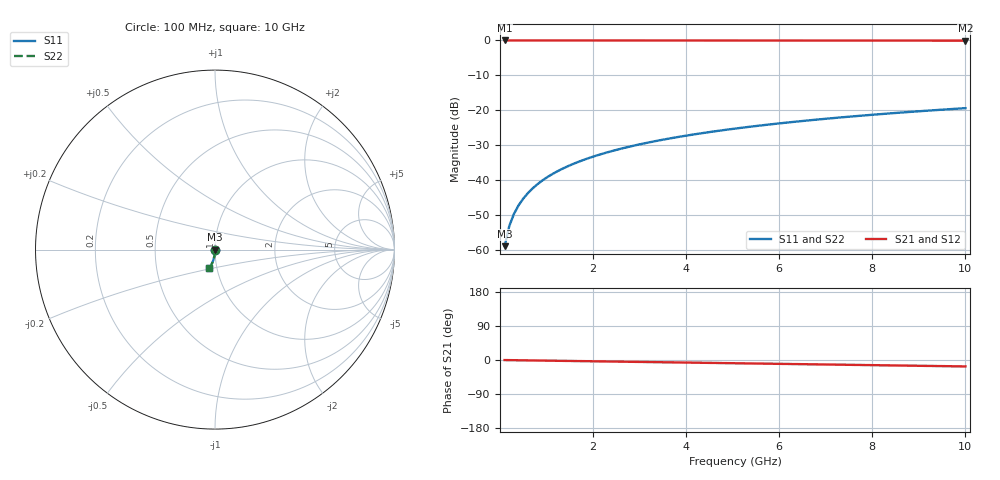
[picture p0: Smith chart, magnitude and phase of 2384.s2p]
# Hz S RI R 50.00
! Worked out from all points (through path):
!   100 points, 100 MHz to 10 GHz, reference 50 ohm
!   highest |S21| = 0.00 dB at 100 MHz (marker M1); lowest = -0.1 dB at 10 GHz (marker M2)
!   group delay of S21, straight-line fit = 4.72 ps
!   lowest |S11| = -59.0 dB at 100 MHz (marker M3), VSWR 1.00, Z = 50 - j0.108 ohm
!   |S11| at or under -10 dB: start of sweep to end of sweep
!   |S22| runs from -59.0 to -19.4 dB; largest |S21 - S12| = 0
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1e8  0.000309 -0.00108  0.9997 -0.00294  0.9997 -0.00294  0.000309 -0.00108
2e8  0.0003 -0.00215  0.9997 -0.00588  0.9997 -0.00588  0.0003 -0.00215
3e8  0.000284 -0.00323  0.9996 -0.00882  0.9996 -0.00882  0.000284 -0.00323
4e8  0.000261 -0.0043  0.9996 -0.0118  0.9996 -0.0118  0.000261 -0.0043
5e8  0.000232 -0.00538  0.9995 -0.0147  0.9995 -0.0147  0.000232 -0.00538
6e8  0.000196 -0.00645  0.9995 -0.0176  0.9995 -0.0176  0.000196 -0.00645
7e8  0.000154 -0.00753  0.9994 -0.0206  0.9994 -0.0206  0.000154 -0.00753
8e8  0.000105 -0.00861  0.9993 -0.0235  0.9993 -0.0235  0.000105 -0.00861
9e8  5.04e-05 -0.00968  0.9993 -0.0265  0.9993 -0.0265  5.04e-05 -0.00968
1.1e9  -7.86e-05 -0.0118  0.9991 -0.0323  0.9991 -0.0323  -7.86e-05 -0.0118
1.4e9  -0.00032 -0.0151  0.9987 -0.0412  0.9987 -0.0412  -0.00032 -0.0151
1.8e9  -0.000731 -0.0194  0.998 -0.0529  0.998 -0.0529  -0.000731 -0.0194
2.1e9  -0.00111 -0.0226  0.9975 -0.0617  0.9975 -0.0617  -0.00111 -0.0226
2.5e9  -0.00169 -0.0269  0.9965 -0.0735  0.9965 -0.0735  -0.00169 -0.0269
2.9e9  -0.00239 -0.0311  0.9955 -0.0853  0.9955 -0.0853  -0.00239 -0.0311
3.4e9  -0.00339 -0.0364  0.9939 -0.0999  0.9939 -0.0999  -0.00339 -0.0364
4.2e9  -0.00533 -0.0449  0.9909 -0.1234  0.9909 -0.1234  -0.00533 -0.0449
5.1e9  -0.00799 -0.0543  0.9868 -0.1497  0.9868 -0.1497  -0.00799 -0.0543
5.9e9  -0.0108 -0.0626  0.9824 -0.173  0.9824 -0.173  -0.0108 -0.0626
6.7e9  -0.014 -0.0707  0.9774 -0.1961  0.9774 -0.1961  -0.014 -0.0707
8.4e9  -0.022 -0.0874  0.9648 -0.2449  0.9648 -0.2449  -0.022 -0.0874
1e10  -0.031 -0.1022  0.9504 -0.2901  0.9504 -0.2901  -0.031 -0.1022
